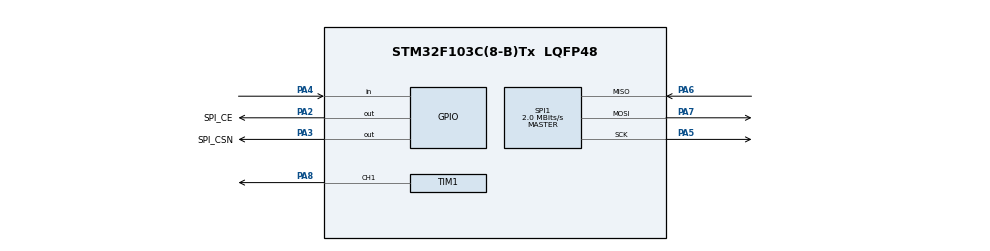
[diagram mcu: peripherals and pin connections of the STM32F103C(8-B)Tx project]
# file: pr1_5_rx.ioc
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Mcu.Family=STM32F1
Mcu.Name=STM32F103C(8-B)Tx
Mcu.Package=LQFP48
NVIC.PriorityGroup=NVIC_PRIORITYGROUP_4
PA13.Mode=Serial_Wire
PA13.Signal=SYS_JTMS-SWDIO
PA14.Mode=Serial_Wire
PA14.Signal=SYS_JTCK-SWCLK
PA2.GPIO_Label=SPI_CE
PA2.Signal=GPIO_Output
PA3.GPIO_Label=SPI_CSN
PA3.Signal=GPIO_Output
PA4.Signal=GPIO_Input
PA5.Mode=Full_Duplex_Master
PA5.Signal=SPI1_SCK
PA6.Mode=Full_Duplex_Master
PA6.Signal=SPI1_MISO
PA7.Mode=Full_Duplex_Master
PA7.Signal=SPI1_MOSI
PA8.Signal=S_TIM1_CH1
ProjectManager.HeapSize=0x200
ProjectManager.StackSize=0x400
ProjectManager.TargetToolchain=STM32CubeIDE
RCC.APB1Freq_Value=8000000
RCC.APB2Freq_Value=8000000
SH.S_TIM1_CH1.0=TIM1_CH1,PWM Generation1 CH1
SPI1.BaudRatePrescaler=SPI_BAUDRATEPRESCALER_4
SPI1.CLKPhase=SPI_PHASE_2EDGE
SPI1.CalculateBaudRate=2.0 MBits/s
SPI1.Direction=SPI_DIRECTION_2LINES
SPI1.Mode=SPI_MODE_MASTER
SPI1.VirtualType=VM_MASTER
TIM1.Channel-PWM\ Generation1\ CH1=TIM_CHANNEL_1
VP_TIM1_VS_ClockSourceINT.Mode=Internal
board=custom

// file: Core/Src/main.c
/* USER CODE BEGIN Header */
/**
  ******************************************************************************
  * @file           : main.c
  * @brief          : Main program body
  ******************************************************************************
  * @attention
  *
  * Copyright (c) 2026 STMicroelectronics.
  * All rights reserved.
  *
  * This software is licensed under terms that can be found in the LICENSE file
  * in the root directory of this software component.
  * If no LICENSE file comes with this software, it is provided AS-IS.
  *
  ******************************************************************************
  */
/* USER CODE END Header */
#include "main.h"

/* USER CODE BEGIN Includes */
#include <string.h>
#include "NRF24_conf.h"
#include "NRF24.h"
#include "NRF24_reg_addresses.h"
#include <stdint.h>
/* USER CODE END Includes */

/* USER CODE BEGIN PTD */
typedef uint8_t  u8;
typedef uint32_t u32;
/* USER CODE END PTD */

SPI_HandleTypeDef hspi1;
TIM_HandleTypeDef htim1;

/* USER CODE BEGIN PV */
u8 tx_addr[5] = {1, 2, 3, 4, 5};
u8 u8ReceivedData;
/* USER CODE END PV */

void SystemClock_Config(void);
static void MX_GPIO_Init(void);
static void MX_SPI1_Init(void);
static void MX_TIM1_Init(void);

int main(void)
{

  /* MCU Configuration--------------------------------------------------------*/

  /* Reset of all peripherals, Initializes the Flash interface and the Systick. */
  HAL_Init();

  /* Configure the system clock */
  SystemClock_Config();

  /* Initialize all configured peripherals */
  MX_GPIO_Init();
  MX_SPI1_Init();
  MX_TIM1_Init();
  /* USER CODE BEGIN 2 */

  HAL_Delay(5);
  HAL_TIM_PWM_Start(&htim1, TIM_CHANNEL_1);
  HAL_Delay(5);

  csn_high();
  ce_high();
  HAL_Delay(5);
  ce_low();

  nrf24_init();
  nrf24_auto_ack_all(auto_ack);
  nrf24_en_ack_pld(disable);
  nrf24_dpl(disable);
  nrf24_set_crc(1, _1byte);
  nrf24_tx_pwr(_0dbm);
  nrf24_data_rate(_2mbps);
  nrf24_set_channel(90);
  nrf24_set_addr_width(5);

  nrf24_set_rx_dpl(0, disable);

  /* set payload size to 1 */
  nrf24_pipe_pld_size(0, 1);

  nrf24_auto_retr_delay(4);
  nrf24_auto_retr_limit(10);

  nrf24_open_tx_pipe(tx_addr);
  nrf24_open_rx_pipe(0, tx_addr);

  ce_high();

  /* start listening */
  nrf24_listen();

  /* USER CODE END 2 */

  /* Infinite loop */
  /* USER CODE BEGIN WHILE */
  while (1)
  {
      if(nrf24_data_available())
      {
        /* receive the ADC data from the sender */
        nrf24_receive(&u8ReceivedData, 1);

        /* to set the brightness we need the proportion of dutycycle and the period */
        /* we set the period 65535 so duty cycle is ---> (ADC /255) x 65535  */
        /* 65535 / 255 = 257 */
        u32 u32DutyCycle = ((uint32_t)u8ReceivedData)* 257;

        /* max value for dutycycle is period value */
        if (u32DutyCycle >= 65535)
        {
          u32DutyCycle = 65535;
        }

        // 4. set the updated dutycycle CCR
        __HAL_TIM_SET_COMPARE(&htim1, TIM_CHANNEL_1, u32DutyCycle);
      }

      // Small delay to prevent CPU hogging (optional)
      HAL_Delay(1);
  }
  /* USER CODE END WHILE */

  /* USER CODE END 3 */
}

void SystemClock_Config(void)
{
  RCC_OscInitTypeDef RCC_OscInitStruct = {0};
  RCC_ClkInitTypeDef RCC_ClkInitStruct = {0};

  /** Initializes the RCC Oscillators according to the specified parameters
  * in the RCC_OscInitTypeDef structure.
  */
  RCC_OscInitStruct.OscillatorType = RCC_OSCILLATORTYPE_HSI;
  RCC_OscInitStruct.HSIState = RCC_HSI_ON;
  RCC_OscInitStruct.HSICalibrationValue = RCC_HSICALIBRATION_DEFAULT;
  RCC_OscInitStruct.PLL.PLLState = RCC_PLL_NONE;
  if (HAL_RCC_OscConfig(&RCC_OscInitStruct) != HAL_OK)
  {
    Error_Handler();
  }

  /** Initializes the CPU, AHB and APB buses clocks
  */
  RCC_ClkInitStruct.ClockType = RCC_CLOCKTYPE_HCLK|RCC_CLOCKTYPE_SYSCLK
                              |RCC_CLOCKTYPE_PCLK1|RCC_CLOCKTYPE_PCLK2;
  RCC_ClkInitStruct.SYSCLKSource = RCC_SYSCLKSOURCE_HSI;
  RCC_ClkInitStruct.AHBCLKDivider = RCC_SYSCLK_DIV1;
  RCC_ClkInitStruct.APB1CLKDivider = RCC_HCLK_DIV1;
  RCC_ClkInitStruct.APB2CLKDivider = RCC_HCLK_DIV1;

  if (HAL_RCC_ClockConfig(&RCC_ClkInitStruct, FLASH_LATENCY_0) != HAL_OK)
  {
    Error_Handler();
  }
}

static void MX_SPI1_Init(void)
{

  /* SPI1 parameter configuration*/
  hspi1.Instance = SPI1;
  hspi1.Init.Mode = SPI_MODE_MASTER;
  hspi1.Init.Direction = SPI_DIRECTION_2LINES;
  hspi1.Init.DataSize = SPI_DATASIZE_8BIT;
  hspi1.Init.CLKPolarity = SPI_POLARITY_LOW;
  hspi1.Init.CLKPhase = SPI_PHASE_1EDGE;
  hspi1.Init.NSS = SPI_NSS_SOFT;
  hspi1.Init.BaudRatePrescaler = SPI_BAUDRATEPRESCALER_4;
  hspi1.Init.FirstBit = SPI_FIRSTBIT_MSB;
  hspi1.Init.TIMode = SPI_TIMODE_DISABLE;
  hspi1.Init.CRCCalculation = SPI_CRCCALCULATION_DISABLE;
  hspi1.Init.CRCPolynomial = 10;
  if (HAL_SPI_Init(&hspi1) != HAL_OK)
  {
    Error_Handler();
  }

}

static void MX_TIM1_Init(void)
{

  TIM_ClockConfigTypeDef sClockSourceConfig = {0};
  TIM_MasterConfigTypeDef sMasterConfig = {0};
  TIM_OC_InitTypeDef sConfigOC = {0};
  TIM_BreakDeadTimeConfigTypeDef sBreakDeadTimeConfig = {0};

  htim1.Instance = TIM1;
  htim1.Init.Prescaler = 0;
  htim1.Init.CounterMode = TIM_COUNTERMODE_UP;
  htim1.Init.Period = 65535;
  htim1.Init.ClockDivision = TIM_CLOCKDIVISION_DIV1;
  htim1.Init.RepetitionCounter = 0;
  htim1.Init.AutoReloadPreload = TIM_AUTORELOAD_PRELOAD_DISABLE;
  if (HAL_TIM_Base_Init(&htim1) != HAL_OK)
  {
    Error_Handler();
  }
  sClockSourceConfig.ClockSource = TIM_CLOCKSOURCE_INTERNAL;
  if (HAL_TIM_ConfigClockSource(&htim1, &sClockSourceConfig) != HAL_OK)
  {
    Error_Handler();
  }
  if (HAL_TIM_PWM_Init(&htim1) != HAL_OK)
  {
    Error_Handler();
  }
  sMasterConfig.MasterOutputTrigger = TIM_TRGO_RESET;
  sMasterConfig.MasterSlaveMode = TIM_MASTERSLAVEMODE_DISABLE;
  if (HAL_TIMEx_MasterConfigSynchronization(&htim1, &sMasterConfig) != HAL_OK)
  {
    Error_Handler();
  }
  sConfigOC.OCMode = TIM_OCMODE_PWM1;
  sConfigOC.Pulse = 0;
  sConfigOC.OCPolarity = TIM_OCPOLARITY_HIGH;
  sConfigOC.OCNPolarity = TIM_OCNPOLARITY_HIGH;
  sConfigOC.OCFastMode = TIM_OCFAST_DISABLE;
  sConfigOC.OCIdleState = TIM_OCIDLESTATE_RESET;
  sConfigOC.OCNIdleState = TIM_OCNIDLESTATE_RESET;
  if (HAL_TIM_PWM_ConfigChannel(&htim1, &sConfigOC, TIM_CHANNEL_1) != HAL_OK)
  {
    Error_Handler();
  }
  sBreakDeadTimeConfig.OffStateRunMode = TIM_OSSR_DISABLE;
  sBreakDeadTimeConfig.OffStateIDLEMode = TIM_OSSI_DISABLE;
  sBreakDeadTimeConfig.LockLevel = TIM_LOCKLEVEL_OFF;
  sBreakDeadTimeConfig.DeadTime = 0;
  sBreakDeadTimeConfig.BreakState = TIM_BREAK_DISABLE;
  sBreakDeadTimeConfig.BreakPolarity = TIM_BREAKPOLARITY_HIGH;
  sBreakDeadTimeConfig.AutomaticOutput = TIM_AUTOMATICOUTPUT_DISABLE;
  if (HAL_TIMEx_ConfigBreakDeadTime(&htim1, &sBreakDeadTimeConfig) != HAL_OK)
  {
    Error_Handler();
  }
  HAL_TIM_MspPostInit(&htim1);

}

static void MX_GPIO_Init(void)
{
  GPIO_InitTypeDef GPIO_InitStruct = {0};

  /* GPIO Ports Clock Enable */
  __HAL_RCC_GPIOA_CLK_ENABLE();

  /*Configure GPIO pin Output Level */
  HAL_GPIO_WritePin(GPIOA, SPI_CSN_Pin, GPIO_PIN_SET);
  HAL_GPIO_WritePin(GPIOA, SPI_CE_Pin, GPIO_PIN_RESET);

  /*Configure GPIO pins : SPI_CE_Pin SPI_CSN_Pin */
  GPIO_InitStruct.Pin = SPI_CE_Pin|SPI_CSN_Pin;
  GPIO_InitStruct.Mode = GPIO_MODE_OUTPUT_PP;
  GPIO_InitStruct.Pull = GPIO_NOPULL;
  GPIO_InitStruct.Speed = GPIO_SPEED_FREQ_LOW;
  HAL_GPIO_Init(GPIOA, &GPIO_InitStruct);

}

void Error_Handler(void)
{
  __disable_irq();
  while (1)
  {
  }
}
